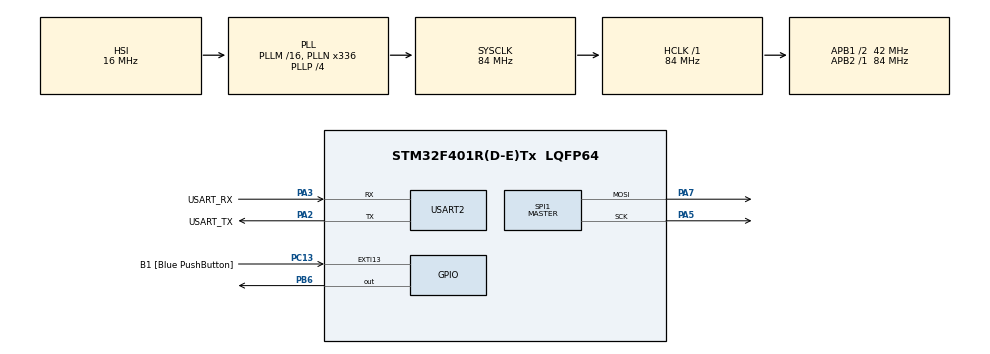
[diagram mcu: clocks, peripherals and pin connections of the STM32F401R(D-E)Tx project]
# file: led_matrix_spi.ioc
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Dma.Request0=SPI1_TX
Dma.SPI1_TX.0.Direction=DMA_MEMORY_TO_PERIPH
Dma.SPI1_TX.0.FIFOMode=DMA_FIFOMODE_DISABLE
Dma.SPI1_TX.0.Instance=DMA2_Stream3
Dma.SPI1_TX.0.MemDataAlignment=DMA_MDATAALIGN_BYTE
Dma.SPI1_TX.0.MemInc=DMA_MINC_ENABLE
Dma.SPI1_TX.0.Mode=DMA_NORMAL
Dma.SPI1_TX.0.PeriphDataAlignment=DMA_PDATAALIGN_BYTE
Dma.SPI1_TX.0.PeriphInc=DMA_PINC_DISABLE
Dma.SPI1_TX.0.Priority=DMA_PRIORITY_LOW
Mcu.Family=STM32F4
Mcu.Name=STM32F401R(D-E)Tx
Mcu.Package=LQFP64
NVIC.DMA2_Stream3_IRQn=true\:0\:0\:false\:false\:true\:false\:true\:true
NVIC.PriorityGroup=NVIC_PRIORITYGROUP_4
PA13.GPIO_Label=TMS
PA13.Mode=Trace_Asynchronous_SW
PA13.Signal=SYS_JTMS-SWDIO
PA14.GPIO_Label=TCK
PA14.Mode=Trace_Asynchronous_SW
PA14.Signal=SYS_JTCK-SWCLK
PA2.GPIO_Label=USART_TX
PA2.GPIO_Mode=GPIO_MODE_AF_PP
PA2.GPIO_PuPd=GPIO_NOPULL
PA2.GPIO_Speed=GPIO_SPEED_FREQ_LOW
PA2.Mode=Asynchronous
PA2.Signal=USART2_TX
PA3.GPIO_Label=USART_RX
PA3.GPIO_Mode=GPIO_MODE_AF_PP
PA3.GPIO_PuPd=GPIO_NOPULL
PA3.GPIO_Speed=GPIO_SPEED_FREQ_LOW
PA3.Mode=Asynchronous
PA3.Signal=USART2_RX
PA5.Mode=TX_Only_Simplex_Unidirect_Master
PA5.Signal=SPI1_SCK
PA7.Mode=TX_Only_Simplex_Unidirect_Master
PA7.Signal=SPI1_MOSI
PB3.GPIO_Label=SWO
PB3.Mode=Trace_Asynchronous_SW
PB3.Signal=SYS_JTDO-SWO
PB6.Signal=GPIO_Output
PC13-ANTI_TAMP.GPIO_Label=B1 [Blue PushButton]
PC13-ANTI_TAMP.GPIO_ModeDefaultEXTI=GPIO_MODE_IT_FALLING
PC13-ANTI_TAMP.GPIO_PuPd=GPIO_NOPULL
PC13-ANTI_TAMP.Signal=GPXTI13
PC14-OSC32_IN.Mode=LSE-External-Oscillator
PC14-OSC32_IN.Signal=RCC_OSC32_IN
PC15-OSC32_OUT.Mode=LSE-External-Oscillator
PC15-OSC32_OUT.Signal=RCC_OSC32_OUT
PH0\ -\ OSC_IN.Mode=HSE-External-Clock-Source
PH0\ -\ OSC_IN.Signal=RCC_OSC_IN
PH1\ -\ OSC_OUT.Mode=HSE-External-Clock-Source
PH1\ -\ OSC_OUT.Signal=RCC_OSC_OUT
ProjectManager.HeapSize=0x200
ProjectManager.StackSize=0x400
ProjectManager.TargetToolchain=STM32CubeIDE
RCC.48MHZClocksFreq_Value=48000000
RCC.AHBFreq_Value=84000000
RCC.APB1CLKDivider=RCC_HCLK_DIV2
RCC.APB1Freq_Value=42000000
RCC.APB1TimFreq_Value=84000000
RCC.APB2Freq_Value=84000000
RCC.APB2TimFreq_Value=84000000
RCC.CortexFreq_Value=84000000
RCC.HCLKFreq_Value=84000000
RCC.HSE_VALUE=8000000
RCC.HSI_VALUE=16000000
RCC.PLLN=336
RCC.PLLP=RCC_PLLP_DIV4
RCC.PLLQ=7
RCC.SYSCLKFreq_VALUE=84000000
RCC.SYSCLKSource=RCC_SYSCLKSOURCE_PLLCLK
RCC.VCOOutputFreq_Value=336000000
SPI1.BaudRatePrescaler=SPI_BAUDRATEPRESCALER_4
SPI1.Direction=SPI_DIRECTION_2LINES
SPI1.Mode=SPI_MODE_MASTER
SPI1.VirtualType=VM_MASTER
TIM10.Period=4000 - 1
TIM10.Prescaler=84 -1 
TIM2.Prescaler=8400-1
USART2.VirtualMode=VM_ASYNC
VP_TIM10_VS_ClockSourceINT.Mode=Enable_Timer
VP_TIM2_VS_ClockSourceINT.Mode=Internal
board=NUCLEO-F401RE

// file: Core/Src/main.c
/* USER CODE BEGIN Header */
/**
  ******************************************************************************
  * @file           : main.c
  * @brief          : Main program body
  ******************************************************************************
  * @attention
  *
  * Copyright (c) 2025 STMicroelectronics.
  * All rights reserved.
  *
  * This software is licensed under terms that can be found in the LICENSE file
  * in the root directory of this software component.
  * If no LICENSE file comes with this software, it is provided AS-IS.
  *
  ******************************************************************************
  */
/* USER CODE END Header */
#include "main.h"

/* USER CODE BEGIN PD */
#define RCLK_PIN GPIOB,GPIO_PIN_6
/* USER CODE END PD */

SPI_HandleTypeDef hspi1;
DMA_HandleTypeDef hdma_spi1_tx;

TIM_HandleTypeDef htim2;
TIM_HandleTypeDef htim10;

UART_HandleTypeDef huart2;

/* USER CODE BEGIN PV */
int column_index = 0;
int flag_letter = 0;
/* USER CODE END PV */

void SystemClock_Config(void);
static void MX_GPIO_Init(void);
static void MX_DMA_Init(void);
static void MX_USART2_UART_Init(void);
static void MX_SPI1_Init(void);
static void MX_TIM2_Init(void);
static void MX_TIM10_Init(void);

/* USER CODE BEGIN 0 */
uint8_t led_matrix[5][2];

uint8_t letter_B[5][2] = {
		{127,16},
		{73,8},
		{73,4},
		{73,2},
		{54,1}
};

uint8_t number_1[5][2] = {
		{33,16},
		{65,8},
		{127,4},
		{1,2},
		{1,1}
};

uint8_t number_8[5][2] = {
		{54,16},
		{73,8},
		{73,4},
		{73,2},
		{54,1}
};

void HAL_TIM_PeriodElapsedCallback(TIM_HandleTypeDef *htim)
 {
     if(htim->Instance == TIM2)
     {
    	 if (flag_letter == 0) {
    		 memcpy(led_matrix, letter_B, sizeof(led_matrix));
    		 flag_letter = 1;
    	 }
    	 else if (flag_letter == 1) {
    		 memcpy(led_matrix, number_1, sizeof(led_matrix));
    		 flag_letter = 2;
    	 }
    	 else {
    		 memcpy(led_matrix, number_8, sizeof(led_matrix));
    		 flag_letter = 0;
    	 }
     }

     if (htim->Instance == TIM3) {
    	 HAL_SPI_Transmit_DMA(&hspi1, led_matrix[column_index], 2);
     }
 }

void HAL_SPI_TxCpltCallback(SPI_HandleTypeDef *hspi)
 {
     HAL_GPIO_WritePin(RCLK_PIN, 1);

     column_index++;

     if (column_index >= 5)
    	 column_index = 0;

     HAL_GPIO_WritePin(RCLK_PIN, 0);
 }
/* USER CODE END 0 */

int main(void)
{

  /* MCU Configuration--------------------------------------------------------*/

  /* Reset of all peripherals, Initializes the Flash interface and the Systick. */
  HAL_Init();

  /* Configure the system clock */
  SystemClock_Config();

  /* Initialize all configured peripherals */
  MX_GPIO_Init();
  MX_DMA_Init();
  MX_USART2_UART_Init();
  MX_SPI1_Init();
  MX_TIM2_Init();
  MX_TIM10_Init();
  /* USER CODE BEGIN 2 */
  HAL_TIM_Base_Start_IT(&htim3);
  HAL_TIM_Base_Start_IT(&htim2);
  /* USER CODE END 2 */

  /* Infinite loop */
  while (1)
  {

  }
}

void SystemClock_Config(void)
{
  RCC_OscInitTypeDef RCC_OscInitStruct = {0};
  RCC_ClkInitTypeDef RCC_ClkInitStruct = {0};

  /** Configure the main internal regulator output voltage
  */
  __HAL_RCC_PWR_CLK_ENABLE();
  __HAL_PWR_VOLTAGESCALING_CONFIG(PWR_REGULATOR_VOLTAGE_SCALE2);

  /** Initializes the RCC Oscillators according to the specified parameters
  * in the RCC_OscInitTypeDef structure.
  */
  RCC_OscInitStruct.OscillatorType = RCC_OSCILLATORTYPE_HSI;
  RCC_OscInitStruct.HSIState = RCC_HSI_ON;
  RCC_OscInitStruct.HSICalibrationValue = RCC_HSICALIBRATION_DEFAULT;
  RCC_OscInitStruct.PLL.PLLState = RCC_PLL_ON;
  RCC_OscInitStruct.PLL.PLLSource = RCC_PLLSOURCE_HSI;
  RCC_OscInitStruct.PLL.PLLM = 16;
  RCC_OscInitStruct.PLL.PLLN = 336;
  RCC_OscInitStruct.PLL.PLLP = RCC_PLLP_DIV4;
  RCC_OscInitStruct.PLL.PLLQ = 7;
  if (HAL_RCC_OscConfig(&RCC_OscInitStruct) != HAL_OK)
  {
    Error_Handler();
  }

  /** Initializes the CPU, AHB and APB buses clocks
  */
  RCC_ClkInitStruct.ClockType = RCC_CLOCKTYPE_HCLK|RCC_CLOCKTYPE_SYSCLK
                              |RCC_CLOCKTYPE_PCLK1|RCC_CLOCKTYPE_PCLK2;
  RCC_ClkInitStruct.SYSCLKSource = RCC_SYSCLKSOURCE_PLLCLK;
  RCC_ClkInitStruct.AHBCLKDivider = RCC_SYSCLK_DIV1;
  RCC_ClkInitStruct.APB1CLKDivider = RCC_HCLK_DIV2;
  RCC_ClkInitStruct.APB2CLKDivider = RCC_HCLK_DIV1;

  if (HAL_RCC_ClockConfig(&RCC_ClkInitStruct, FLASH_LATENCY_2) != HAL_OK)
  {
    Error_Handler();
  }
}

static void MX_SPI1_Init(void)
{

  /* SPI1 parameter configuration*/
  hspi1.Instance = SPI1;
  hspi1.Init.Mode = SPI_MODE_MASTER;
  hspi1.Init.Direction = SPI_DIRECTION_2LINES;
  hspi1.Init.DataSize = SPI_DATASIZE_8BIT;
  hspi1.Init.CLKPolarity = SPI_POLARITY_LOW;
  hspi1.Init.CLKPhase = SPI_PHASE_1EDGE;
  hspi1.Init.NSS = SPI_NSS_SOFT;
  hspi1.Init.BaudRatePrescaler = SPI_BAUDRATEPRESCALER_4;
  hspi1.Init.FirstBit = SPI_FIRSTBIT_MSB;
  hspi1.Init.TIMode = SPI_TIMODE_DISABLE;
  hspi1.Init.CRCCalculation = SPI_CRCCALCULATION_DISABLE;
  hspi1.Init.CRCPolynomial = 10;
  if (HAL_SPI_Init(&hspi1) != HAL_OK)
  {
    Error_Handler();
  }

}

static void MX_TIM2_Init(void)
{

  TIM_ClockConfigTypeDef sClockSourceConfig = {0};
  TIM_MasterConfigTypeDef sMasterConfig = {0};

  htim2.Instance = TIM2;
  htim2.Init.Prescaler = 8400-1;
  htim2.Init.CounterMode = TIM_COUNTERMODE_UP;
  htim2.Init.Period = 4294967295;
  htim2.Init.ClockDivision = TIM_CLOCKDIVISION_DIV1;
  htim2.Init.AutoReloadPreload = TIM_AUTORELOAD_PRELOAD_DISABLE;
  if (HAL_TIM_Base_Init(&htim2) != HAL_OK)
  {
    Error_Handler();
  }
  sClockSourceConfig.ClockSource = TIM_CLOCKSOURCE_INTERNAL;
  if (HAL_TIM_ConfigClockSource(&htim2, &sClockSourceConfig) != HAL_OK)
  {
    Error_Handler();
  }
  sMasterConfig.MasterOutputTrigger = TIM_TRGO_RESET;
  sMasterConfig.MasterSlaveMode = TIM_MASTERSLAVEMODE_DISABLE;
  if (HAL_TIMEx_MasterConfigSynchronization(&htim2, &sMasterConfig) != HAL_OK)
  {
    Error_Handler();
  }

}

static void MX_TIM10_Init(void)
{

  htim10.Instance = TIM10;
  htim10.Init.Prescaler = 84 -1 ;
  htim10.Init.CounterMode = TIM_COUNTERMODE_UP;
  htim10.Init.Period = 4000 - 1;
  htim10.Init.ClockDivision = TIM_CLOCKDIVISION_DIV1;
  htim10.Init.AutoReloadPreload = TIM_AUTORELOAD_PRELOAD_DISABLE;
  if (HAL_TIM_Base_Init(&htim10) != HAL_OK)
  {
    Error_Handler();
  }

}

static void MX_USART2_UART_Init(void)
{

  huart2.Instance = USART2;
  huart2.Init.BaudRate = 115200;
  huart2.Init.WordLength = UART_WORDLENGTH_8B;
  huart2.Init.StopBits = UART_STOPBITS_1;
  huart2.Init.Parity = UART_PARITY_NONE;
  huart2.Init.Mode = UART_MODE_TX_RX;
  huart2.Init.HwFlowCtl = UART_HWCONTROL_NONE;
  huart2.Init.OverSampling = UART_OVERSAMPLING_16;
  if (HAL_UART_Init(&huart2) != HAL_OK)
  {
    Error_Handler();
  }

}

static void MX_DMA_Init(void)
{

  /* DMA controller clock enable */
  __HAL_RCC_DMA2_CLK_ENABLE();

  /* DMA interrupt init */
  /* DMA2_Stream3_IRQn interrupt configuration */
  HAL_NVIC_SetPriority(DMA2_Stream3_IRQn, 0, 0);
  HAL_NVIC_EnableIRQ(DMA2_Stream3_IRQn);

}

static void MX_GPIO_Init(void)
{
  GPIO_InitTypeDef GPIO_InitStruct = {0};

  /* GPIO Ports Clock Enable */
  __HAL_RCC_GPIOC_CLK_ENABLE();
  __HAL_RCC_GPIOH_CLK_ENABLE();
  __HAL_RCC_GPIOA_CLK_ENABLE();
  __HAL_RCC_GPIOB_CLK_ENABLE();

  /*Configure GPIO pin Output Level */
  HAL_GPIO_WritePin(GPIOB, GPIO_PIN_6, GPIO_PIN_RESET);

  /*Configure GPIO pin : B1_Pin */
  GPIO_InitStruct.Pin = B1_Pin;
  GPIO_InitStruct.Mode = GPIO_MODE_IT_FALLING;
  GPIO_InitStruct.Pull = GPIO_NOPULL;
  HAL_GPIO_Init(B1_GPIO_Port, &GPIO_InitStruct);

  /*Configure GPIO pin : PB6 */
  GPIO_InitStruct.Pin = GPIO_PIN_6;
  GPIO_InitStruct.Mode = GPIO_MODE_OUTPUT_PP;
  GPIO_InitStruct.Pull = GPIO_NOPULL;
  GPIO_InitStruct.Speed = GPIO_SPEED_FREQ_LOW;
  HAL_GPIO_Init(GPIOB, &GPIO_InitStruct);

}

void Error_Handler(void)
{
  __disable_irq();
  while (1)
  {
  }
}
